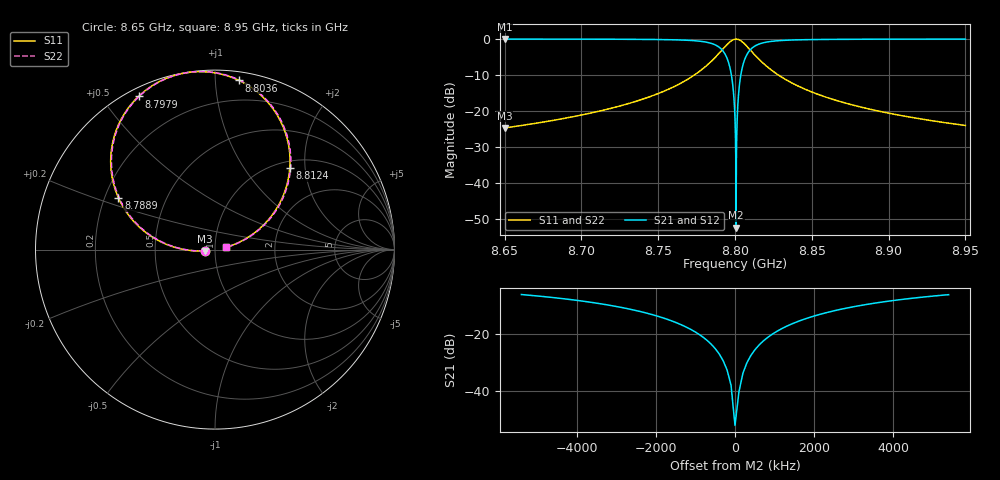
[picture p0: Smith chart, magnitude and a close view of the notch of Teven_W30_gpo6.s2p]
! Sonnet Data File
! From: emgraph Version : 16.52
! From Project: transmon_trial
! Data is De-embedded
! Data File Written: 10/20/2017 09:13:07
!< HDATE 10/19/2017 20:03:37
!< MDATE 10/19/2017 20:10:25
!< PARAMS
!< Lj = 15.24
!< Gap = 6.0
!< Width = 30.0
!< Airgap = 18.0
!< Pwidth = 2000.0
!< END PARAMS
# GHZ S MA R 51.00000
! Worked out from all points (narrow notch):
!   3001 points, 8.65 GHz to 8.95 GHz, reference 51 ohm
!   highest |S21| = -0.02 dB at 8.65 GHz (marker M1); lowest = -52.3 dB at 8.8007 GHz (marker M2)
!   notch at M2: 52.2 dB deep, 905 kHz wide at half that depth
!   lowest |S11| = -24.6 dB at 8.65 GHz (marker M3), VSWR 1.12, Z = 45.4 - j0.678 ohm
!   |S11| at or under -10 dB: start of sweep to 8.7735 GHz; 8.8283 GHz to end of sweep
!   |S22| runs from -24.6 to 0.0 dB; largest |S21 - S12| = 0
!   S11 on the Smith chart (normalised r, x): 8.65 GHz: 0.89, -0.01; 8.7889 GHz: 0.26, +0.24; 8.7979 GHz: 0.03, +0.62; 8.8036 GHz: 0.06, +1.15; 8.8124 GHz: 1.13, +1.66; 8.95 GHz: 1.13, +0.03
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8.65  0.05855 -172.7  0.9983 -82.8  0.9983 -82.8  0.05855 -172.9
!< P1 F=8.65 Eeff=(6.44482017 -3.0292e-5) Z0=(50.6172123 1.12884e-4) R=0.0 C=0.0
!< P2 F=8.65 Eeff=(6.44482017 -3.0292e-5) Z0=(50.6172123 1.12884e-4) R=0.0 C=0.0
8.7  0.08839 -174.8  0.9961 -85.0  0.9961 -85.0  0.08839 -175.1
8.75  0.1754 179.7  0.9844 -90.5  0.9844 -90.5  0.1754 179.3
8.7767  0.354 168.8  0.935 -101.3  0.935 -101.3  0.354 168.4
8.7837  0.4717 161.3  0.8813 -108.8  0.8813 -108.8  0.4717 160.9
8.7889  0.6106 151.8  0.7911 -118.3  0.7911 -118.3  0.6106 151.3
8.7946  0.8298 133.2  0.5556 -136.8  0.5556 -136.8  0.8298 132.8
8.7979  0.954 116.5  0.2938 -153.3  0.2938 -153.3  0.954 116.0
8.7987  0.9748 111.8  0.2148 -157.9  0.2148 -157.9  0.9748 111.4
8.7994  0.988 107.6  0.142 -161.9  0.142 -161.9  0.988 107.1
8.8  0.9951 103.9  0.07769 -164.9  0.07769 -164.9  0.9951 103.4
8.8007  0.9981 99.5  0.002427 -118.1  0.002427 -118.1  0.9981 99.0
8.8018  0.9911 92.7  0.1178 1.5  0.1178 1.5  0.9911 92.2
8.8026  0.9776 87.8  0.2016 -3.0  0.2016 -3.0  0.9776 87.3
8.8036  0.952 81.9  0.3004 -8.7  0.3004 -8.7  0.952 81.4
8.8069  0.8275 65.4  0.5591 -25.0  0.5591 -25.0  0.8275 64.9
8.8124  0.6168 47.5  0.7862 -42.9  0.7862 -42.9  0.6168 47.0
8.8179  0.4709 37.4  0.8817 -52.9  0.8817 -52.9  0.4709 36.9
8.8251  0.3527 29.9  0.9355 -60.4  0.9355 -60.4  0.3527 29.4
8.85  0.1844 19.7  0.9828 -70.7  0.9828 -70.7  0.1844 19.1
8.9  0.09386 14.0  0.9956 -76.3  0.9956 -76.3  0.09386 13.3
8.95  0.06334 11.9  0.998 -78.6  0.998 -78.6  0.06334 11.0
